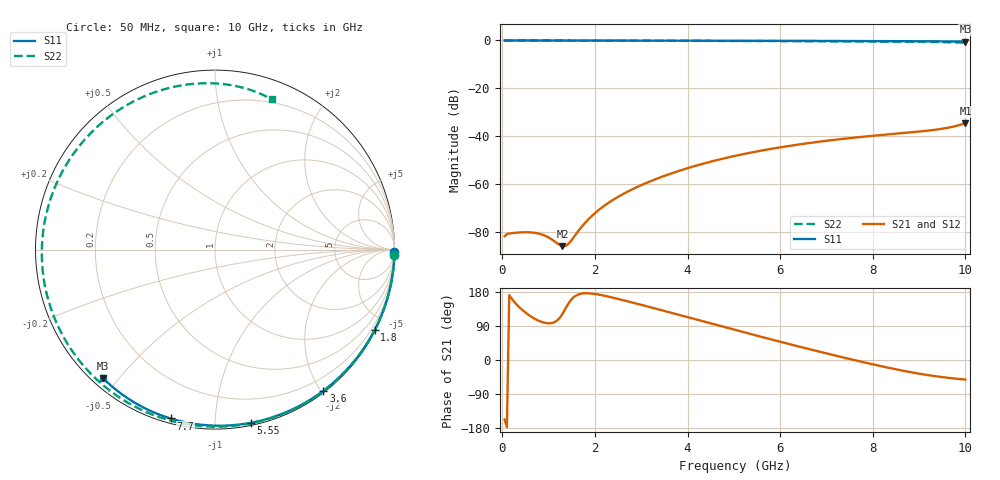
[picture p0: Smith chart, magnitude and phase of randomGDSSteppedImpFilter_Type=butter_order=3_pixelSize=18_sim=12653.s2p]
! freq	dB(S11)	phase(S11)	dB(S12)	phase(S12)
!  dB(S21)	phase(S21)	dB(S22)	phase(S22)
!S-par simulation data
#  GHz  S  DB  R 50
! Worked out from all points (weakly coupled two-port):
!   200 points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, 50 MHz to 10 GHz, reference 50 ohm
!   highest |S21| = -34.51 dB at 10 GHz (marker M1); lowest = -85.8 dB at 1.3 GHz (marker M2)
!   lowest |S11| = -0.4 dB at 10 GHz (marker M3), VSWR 38.92, Z = 1.55 - j22.8 ohm
!   |S11| at or under -10 dB: nowhere
!   |S22| runs from -1.0 to 0.0 dB; largest |S21 - S12| = 0
!   S11 on the Smith chart (normalised r, x): 50 MHz: open; 1.8 GHz: 0.04, -4.19; 3.6 GHz: 0.02, -2.03; 5.55 GHz: 0.02, -1.23; 7.7 GHz: 0.02, -0.77; 10 GHz: 0.03, -0.46
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0.05  -0.00 -0.8  -81.69 -157.1  -81.69 -157.1  -0.00 -1.6
0.65  -0.01 -9.8  -80.16 112.3  -80.16 112.3  -0.02 -20.4
1.3  -0.02 -19.5  -85.85 121.7  -85.85 121.7  -0.05 -40.3
1.6  -0.03 -23.9  -80.59 170.5  -80.59 170.5  -0.06 -49.3
1.75  -0.03 -26.1  -76.92 175.8  -76.92 175.8  -0.07 -53.8
1.8  -0.03 -26.8  -75.83 176.1  -75.83 176.1  -0.07 -55.3
2.1  -0.04 -31.2  -70.47 172.2  -70.47 172.2  -0.08 -64.0
2.45  -0.05 -36.3  -65.84 162.7  -65.84 162.7  -0.09 -74.1
3.4  -0.07 -49.7  -57.23 132.7  -57.23 132.7  -0.13 -100.4
3.6  -0.07 -52.5  -55.83 126.2  -55.83 126.2  -0.14 -105.7
4.3  -0.09 -62.0  -51.62 103.3  -51.62 103.3  -0.17 -124.1
5.05  -0.11 -72.0  -48.07 78.7  -48.07 78.7  -0.21 -143.4
5.55  -0.13 -78.4  -46.12 62.5  -46.12 62.5  -0.24 -156.2
6.15  -0.15 -86.0  -44.15 43.4  -44.15 43.4  -0.29 -171.8
6.7  -0.18 -92.7  -42.61 26.5  -42.61 26.5  -0.33 173.7
7.2  -0.21 -98.8  -41.41 11.5  -41.41 11.5  -0.37 160.1
7.7  -0.24 -104.7  -40.36 -3.0  -40.36 -3.0  -0.42 145.9
8.35  -0.29 -112.3  -39.18 -20.8  -39.18 -20.8  -0.49 126.6
8.8  -0.32 -117.4  -38.41 -31.7  -38.41 -31.7  -0.54 112.4
9.25  -0.37 -122.6  -37.51 -41.0  -37.51 -41.0  -0.62 97.5
9.65  -0.41 -127.1  -36.32 -47.4  -36.32 -47.4  -0.73 83.2
10  -0.45 -131.0  -34.51 -51.7  -34.51 -51.7  -0.97 69.2
